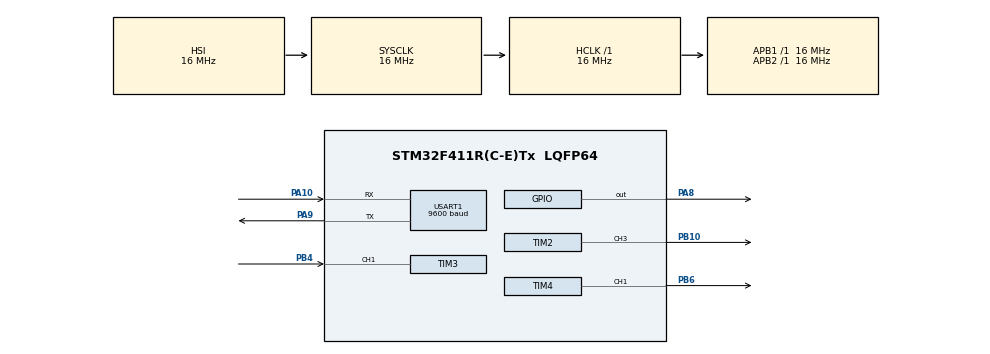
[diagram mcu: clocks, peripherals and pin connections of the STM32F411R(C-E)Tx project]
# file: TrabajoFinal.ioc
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FREERTOS.Events01=modeFlags,Dynamic,NULL
FREERTOS.Mutexes01=controlMutex,Dynamic,NULL;sensorMutex,Dynamic,NULL
FREERTOS.Queues01=myQueue01,32,char,0,Dynamic,NULL,NULL;myQueue02,32,uint32_t,0,Dynamic,NULL,NULL
FREERTOS.Tasks01=defaultTask,24,128,StartDefaultTask,Default,NULL,Dynamic,NULL,NULL;TestTask01,8,128,TestTask,Default,NULL,Dynamic,NULL,NULL;PWM,8,128,PWMTask,Default,NULL,Dynamic,NULL,NULL;SensorUTask01,8,128,SensorUTask,Default,NULL,Dynamic,NULL,NULL
FREERTOS.configUSE_NEWLIB_REENTRANT=1
Mcu.Family=STM32F4
Mcu.Name=STM32F411R(C-E)Tx
Mcu.Package=LQFP64
NVIC.PriorityGroup=NVIC_PRIORITYGROUP_4
NVIC.TIM3_IRQn=true\:5\:0\:false\:false\:true\:true\:true\:true\:true
NVIC.TIM4_IRQn=true\:5\:0\:false\:false\:true\:true\:true\:true\:true
NVIC.USART1_IRQn=true\:5\:0\:false\:false\:true\:true\:true\:true\:true
PA10.Mode=Asynchronous
PA10.Signal=USART1_RX
PA8.Signal=GPIO_Output
PA9.Mode=Asynchronous
PA9.Signal=USART1_TX
PB10.Signal=S_TIM2_CH3
PB4.Signal=S_TIM3_CH1
PB6.Signal=S_TIM4_CH1
ProjectManager.HeapSize=0x200
ProjectManager.StackSize=0x400
ProjectManager.TargetToolchain=STM32CubeIDE
RCC.AHBFreq_Value=16000000
RCC.APB1Freq_Value=16000000
RCC.APB2Freq_Value=16000000
RCC.CortexFreq_Value=16000000
RCC.HSE_VALUE=25000000
RCC.HSI_VALUE=16000000
RCC.LSE_VALUE=32768
RCC.SYSCLKFreq_VALUE=16000000
RCC.VCOOutputFreq_Value=192000000
SH.S_TIM2_CH3.0=TIM2_CH3,PWM Generation3 CH3
SH.S_TIM3_CH1.0=TIM3_CH1,Input_Capture1_from_TI1
SH.S_TIM4_CH1.0=TIM4_CH1,PWM Generation1 CH1
TIM2.AutoReloadPreload=TIM_AUTORELOAD_PRELOAD_ENABLE
TIM2.Channel-PWM\ Generation3\ CH3=TIM_CHANNEL_3
TIM2.Period=999
TIM2.Prescaler=7
TIM3.AutoReloadPreload=TIM_AUTORELOAD_PRELOAD_DISABLE
TIM3.Channel-Input_Capture1_from_TI1=TIM_CHANNEL_1
TIM3.ICPolarity_CH1=TIM_INPUTCHANNELPOLARITY_BOTHEDGE
TIM3.Period=65535
TIM3.Prescaler=15
TIM4.AutoReloadPreload=TIM_AUTORELOAD_PRELOAD_ENABLE
TIM4.Channel-PWM\ Generation1\ CH1=TIM_CHANNEL_1
TIM4.Period=999
TIM4.Prescaler=7
USART1.BaudRate=9600
USART1.VirtualMode=VM_ASYNC
VP_FREERTOS_VS_CMSIS_V2.Mode=CMSIS_V2
VP_TIM2_VS_ClockSourceINT.Mode=Internal
VP_TIM3_VS_ClockSourceINT.Mode=Internal
VP_TIM4_VS_ClockSourceINT.Mode=Internal
board=custom

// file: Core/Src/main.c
/* USER CODE BEGIN Header */
/**
 ******************************************************************************
 * @file           : main.c
 * @brief          : Main program body
 ******************************************************************************
 * @attention
 *
 * Copyright (c) 2025 STMicroelectronics.
 * All rights reserved.
 *
 * This software is licensed under terms that can be found in the LICENSE file
 * in the root directory of this software component.
 * If no LICENSE file comes with this software, it is provided AS-IS.
 *
 ******************************************************************************
 */
/* USER CODE END Header */
#include "main.h"
#include "cmsis_os.h"

/* USER CODE BEGIN Includes */
#include <stdlib.h>
#include <math.h>
/* USER CODE END Includes */

/* USER CODE BEGIN PD */
#define PWM_MAX 999
#define DEADZONE 50
#define MODE_MANUAL (1 << 0)
#define MODE_AUTO   (1 << 1)

#define AUTO_STOP_CM     15.0f
#define AUTO_SLOW_CM     50.0f

#define AUTO_FAST_SPEED  0.6f
#define AUTO_SLOW_SPEED  0.3f
#define AUTO_TURN_SPEED  0.1f

/* USER CODE END PD */

TIM_HandleTypeDef htim2;
TIM_HandleTypeDef htim3;
TIM_HandleTypeDef htim4;

UART_HandleTypeDef huart1;

/* Definitions for defaultTask */
osThreadId_t defaultTaskHandle;
const osThreadAttr_t defaultTask_attributes = {
  .name = "defaultTask",
  .stack_size = 128 * 4,
  .priority = (osPriority_t) osPriorityNormal,
};
/* Definitions for TestTask01 */
osThreadId_t TestTask01Handle;
const osThreadAttr_t TestTask01_attributes = {
  .name = "TestTask01",
  .stack_size = 128 * 4,
  .priority = (osPriority_t) osPriorityLow,
};
/* Definitions for PWM */
osThreadId_t PWMHandle;
const osThreadAttr_t PWM_attributes = {
  .name = "PWM",
  .stack_size = 128 * 4,
  .priority = (osPriority_t) osPriorityLow,
};
/* Definitions for SensorUTask01 */
osThreadId_t SensorUTask01Handle;
const osThreadAttr_t SensorUTask01_attributes = {
  .name = "SensorUTask01",
  .stack_size = 128 * 4,
  .priority = (osPriority_t) osPriorityLow,
};
/* Definitions for myQueue01 */
osMessageQueueId_t myQueue01Handle;
const osMessageQueueAttr_t myQueue01_attributes = {
  .name = "myQueue01"
};
/* Definitions for myQueue02 */
osMessageQueueId_t myQueue02Handle;
const osMessageQueueAttr_t myQueue02_attributes = {
  .name = "myQueue02"
};
/* Definitions for controlMutex */
osMutexId_t controlMutexHandle;
const osMutexAttr_t controlMutex_attributes = {
  .name = "controlMutex"
};
/* Definitions for sensorMutex */
osMutexId_t sensorMutexHandle;
const osMutexAttr_t sensorMutex_attributes = {
  .name = "sensorMutex"
};
/* Definitions for modeFlags */
osEventFlagsId_t modeFlagsHandle;
const osEventFlagsAttr_t modeFlags_attributes = {
  .name = "modeFlags"
};
/* USER CODE BEGIN PV */
volatile uint8_t rx_byte;
uint8_t joy_x=50;   // 0–100
uint8_t joy_y=50;   // 0–100

volatile uint32_t ic_rise = 0;
volatile uint32_t ic_fall = 0;
float Distance_cm = 50.0f;

/* USER CODE END PV */

void SystemClock_Config(void);
static void MX_GPIO_Init(void);
static void MX_TIM3_Init(void);
static void MX_TIM2_Init(void);
static void MX_USART1_UART_Init(void);
static void MX_TIM4_Init(void);
void StartDefaultTask(void *argument);
void TestTask(void *argument);
void PWMTask(void *argument);
void SensorUTask(void *argument);

/* USER CODE BEGIN 0 */
static inline uint32_t map_float_to_pwm(float v)
{
    if (v < 0.0f) v = 0.0f;
    if (v > 1.0f) v = 1.0f;
    return (uint32_t)(v * PWM_MAX);
}

void DriveFromJoystick(uint8_t x, uint8_t y)
{
    float speed, turn;
    float left, right;

    if (x == 50 && y == 50)
	{
		__HAL_TIM_SET_COMPARE(&htim4, TIM_CHANNEL_1, 0);
		__HAL_TIM_SET_COMPARE(&htim2, TIM_CHANNEL_3, 0);
		return;
	}

    turn = ((float)x - 50.0f) / 50.0f;   // -1..1

    if (y > DEADZONE)
		speed = (float)(y - DEADZONE) / (100.0f - DEADZONE); // 0..1
	else
		speed = 0.0f;

    if (speed < 0.05f && fabs(turn) > 0.05f)
    {
		if (turn > 0)
		{
			left  = 0.0f;
			right = fabs(turn);
		}
		else
		{
			left  = fabs(turn);
			right = 0.0f;
		}
    }
    else
    {
        left  = speed * (1.0f - turn);
        right = speed * (1.0f + turn);

        if (left  < 0) left  = 0;
        if (right < 0) right = 0;
        if (left  > 1) left  = 1;
        if (right > 1) right = 1;
    }

    __HAL_TIM_SET_COMPARE(&htim4, TIM_CHANNEL_1, map_float_to_pwm(left));
    __HAL_TIM_SET_COMPARE(&htim2, TIM_CHANNEL_3, map_float_to_pwm(right));
}

void DriveAuto(void)
{
    float distance;
    float left = 0.0f, right = 0.0f;

    /* Leer distancia protegida */
    osMutexAcquire(controlMutexHandle, osWaitForever);
    distance = Distance_cm;
    osMutexRelease(controlMutexHandle);

    if (distance <= 0.0f)
    {
        left = 0.0f;
        right = 0.0f;
    }
    else if (distance < AUTO_STOP_CM)
    {
        // Obstáculo muy cerca → girar
        left  = AUTO_TURN_SPEED;
        right = 0.0f;
    }
    else if (distance < AUTO_SLOW_CM)
    {
        // Cerca → avanzar lento
        left  = AUTO_SLOW_SPEED;
        right = AUTO_SLOW_SPEED;
    }
    else
    {
        // Libre → avanzar normal
        left  = AUTO_FAST_SPEED;
        right = AUTO_FAST_SPEED;
    }

    __HAL_TIM_SET_COMPARE(&htim4, TIM_CHANNEL_1, map_float_to_pwm(left));
    __HAL_TIM_SET_COMPARE(&htim2, TIM_CHANNEL_3, map_float_to_pwm(right));
}

int parseXY(const char *buf, uint8_t *x, uint8_t *y)
{
    if (buf[0] != 'X') return 0;

    int i = 1;
    int vx = 0, vy = 0;

    if (buf[i] < '0' || buf[i] > '9') return 0;

    while (buf[i] >= '0' && buf[i] <= '9')
        vx = vx * 10 + (buf[i++] - '0');

    if (buf[i++] != 'Y') return 0;

    if (buf[i] < '0' || buf[i] > '9') return 0;

    while (buf[i] >= '0' && buf[i] <= '9')
        vy = vy * 10 + (buf[i++] - '0');

    if (vx > 100 || vy > 100) return 0;

    *x = vx;
    *y = vy;
    return 1;
}

/* USER CODE END 0 */

int main(void)
{

  /* MCU Configuration--------------------------------------------------------*/

  /* Reset of all peripherals, Initializes the Flash interface and the Systick. */
  HAL_Init();

  /* Configure the system clock */
  SystemClock_Config();

  /* Initialize all configured peripherals */
  MX_GPIO_Init();
  MX_TIM3_Init();
  MX_TIM2_Init();
  MX_USART1_UART_Init();
  MX_TIM4_Init();
  /* USER CODE BEGIN 2 */
  //HAL_UART_Receive_IT(&huart2, &rx_byte, 1);
  HAL_UART_Receive_IT(&huart1, &rx_byte, 1);
  HAL_TIM_PWM_Start(&htim4, TIM_CHANNEL_1);
  HAL_TIM_PWM_Start(&htim2, TIM_CHANNEL_3);
  /* USER CODE END 2 */

  /* Init scheduler */
  osKernelInitialize();
  /* Create the mutex(es) */
  /* creation of controlMutex */
  controlMutexHandle = osMutexNew(&controlMutex_attributes);

  /* creation of sensorMutex */
  sensorMutexHandle = osMutexNew(&sensorMutex_attributes);

  /* Create the queue(s) */
  /* creation of myQueue01 */
  myQueue01Handle = osMessageQueueNew (32, sizeof(char), &myQueue01_attributes);

  /* creation of myQueue02 */
  myQueue02Handle = osMessageQueueNew (4, sizeof(uint32_t), &myQueue02_attributes);

  /* Create the thread(s) */
  /* creation of defaultTask */
  defaultTaskHandle = osThreadNew(StartDefaultTask, NULL, &defaultTask_attributes);

  /* creation of TestTask01 */
  TestTask01Handle = osThreadNew(TestTask, NULL, &TestTask01_attributes);

  /* creation of PWM */
  PWMHandle = osThreadNew(PWMTask, NULL, &PWM_attributes);

  /* creation of SensorUTask01 */
  SensorUTask01Handle = osThreadNew(SensorUTask, NULL, &SensorUTask01_attributes);

  /* creation of modeFlags */
  modeFlagsHandle = osEventFlagsNew(&modeFlags_attributes);

  /* USER CODE BEGIN RTOS_EVENTS */
  osEventFlagsSet(modeFlagsHandle, MODE_MANUAL);
  /* USER CODE END RTOS_EVENTS */

  /* Start scheduler */
  osKernelStart();

  /* We should never get here as control is now taken by the scheduler */
  /* Infinite loop */
	while (1) {

	}
}

void SystemClock_Config(void)
{
  RCC_OscInitTypeDef RCC_OscInitStruct = {0};
  RCC_ClkInitTypeDef RCC_ClkInitStruct = {0};

  /** Configure the main internal regulator output voltage
  */
  __HAL_RCC_PWR_CLK_ENABLE();
  __HAL_PWR_VOLTAGESCALING_CONFIG(PWR_REGULATOR_VOLTAGE_SCALE1);

  /** Initializes the RCC Oscillators according to the specified parameters
  * in the RCC_OscInitTypeDef structure.
  */
  RCC_OscInitStruct.OscillatorType = RCC_OSCILLATORTYPE_HSI;
  RCC_OscInitStruct.HSIState = RCC_HSI_ON;
  RCC_OscInitStruct.HSICalibrationValue = RCC_HSICALIBRATION_DEFAULT;
  RCC_OscInitStruct.PLL.PLLState = RCC_PLL_NONE;
  if (HAL_RCC_OscConfig(&RCC_OscInitStruct) != HAL_OK)
  {
    Error_Handler();
  }

  /** Initializes the CPU, AHB and APB buses clocks
  */
  RCC_ClkInitStruct.ClockType = RCC_CLOCKTYPE_HCLK|RCC_CLOCKTYPE_SYSCLK
                              |RCC_CLOCKTYPE_PCLK1|RCC_CLOCKTYPE_PCLK2;
  RCC_ClkInitStruct.SYSCLKSource = RCC_SYSCLKSOURCE_HSI;
  RCC_ClkInitStruct.AHBCLKDivider = RCC_SYSCLK_DIV1;
  RCC_ClkInitStruct.APB1CLKDivider = RCC_HCLK_DIV1;
  RCC_ClkInitStruct.APB2CLKDivider = RCC_HCLK_DIV1;

  if (HAL_RCC_ClockConfig(&RCC_ClkInitStruct, FLASH_LATENCY_0) != HAL_OK)
  {
    Error_Handler();
  }
}

static void MX_TIM2_Init(void)
{

  TIM_ClockConfigTypeDef sClockSourceConfig = {0};
  TIM_MasterConfigTypeDef sMasterConfig = {0};
  TIM_OC_InitTypeDef sConfigOC = {0};

  htim2.Instance = TIM2;
  htim2.Init.Prescaler = 7;
  htim2.Init.CounterMode = TIM_COUNTERMODE_UP;
  htim2.Init.Period = 999;
  htim2.Init.ClockDivision = TIM_CLOCKDIVISION_DIV1;
  htim2.Init.AutoReloadPreload = TIM_AUTORELOAD_PRELOAD_ENABLE;
  if (HAL_TIM_Base_Init(&htim2) != HAL_OK)
  {
    Error_Handler();
  }
  sClockSourceConfig.ClockSource = TIM_CLOCKSOURCE_INTERNAL;
  if (HAL_TIM_ConfigClockSource(&htim2, &sClockSourceConfig) != HAL_OK)
  {
    Error_Handler();
  }
  if (HAL_TIM_PWM_Init(&htim2) != HAL_OK)
  {
    Error_Handler();
  }
  sMasterConfig.MasterOutputTrigger = TIM_TRGO_RESET;
  sMasterConfig.MasterSlaveMode = TIM_MASTERSLAVEMODE_DISABLE;
  if (HAL_TIMEx_MasterConfigSynchronization(&htim2, &sMasterConfig) != HAL_OK)
  {
    Error_Handler();
  }
  sConfigOC.OCMode = TIM_OCMODE_PWM1;
  sConfigOC.Pulse = 0;
  sConfigOC.OCPolarity = TIM_OCPOLARITY_HIGH;
  sConfigOC.OCFastMode = TIM_OCFAST_DISABLE;
  if (HAL_TIM_PWM_ConfigChannel(&htim2, &sConfigOC, TIM_CHANNEL_3) != HAL_OK)
  {
    Error_Handler();
  }
  HAL_TIM_MspPostInit(&htim2);

}

static void MX_TIM3_Init(void)
{

  TIM_ClockConfigTypeDef sClockSourceConfig = {0};
  TIM_MasterConfigTypeDef sMasterConfig = {0};
  TIM_IC_InitTypeDef sConfigIC = {0};

  htim3.Instance = TIM3;
  htim3.Init.Prescaler = 15;
  htim3.Init.CounterMode = TIM_COUNTERMODE_UP;
  htim3.Init.Period = 65535;
  htim3.Init.ClockDivision = TIM_CLOCKDIVISION_DIV1;
  htim3.Init.AutoReloadPreload = TIM_AUTORELOAD_PRELOAD_DISABLE;
  if (HAL_TIM_Base_Init(&htim3) != HAL_OK)
  {
    Error_Handler();
  }
  sClockSourceConfig.ClockSource = TIM_CLOCKSOURCE_INTERNAL;
  if (HAL_TIM_ConfigClockSource(&htim3, &sClockSourceConfig) != HAL_OK)
  {
    Error_Handler();
  }
  if (HAL_TIM_IC_Init(&htim3) != HAL_OK)
  {
    Error_Handler();
  }
  sMasterConfig.MasterOutputTrigger = TIM_TRGO_RESET;
  sMasterConfig.MasterSlaveMode = TIM_MASTERSLAVEMODE_DISABLE;
  if (HAL_TIMEx_MasterConfigSynchronization(&htim3, &sMasterConfig) != HAL_OK)
  {
    Error_Handler();
  }
  sConfigIC.ICPolarity = TIM_INPUTCHANNELPOLARITY_BOTHEDGE;
  sConfigIC.ICSelection = TIM_ICSELECTION_DIRECTTI;
  sConfigIC.ICPrescaler = TIM_ICPSC_DIV1;
  sConfigIC.ICFilter = 0;
  if (HAL_TIM_IC_ConfigChannel(&htim3, &sConfigIC, TIM_CHANNEL_1) != HAL_OK)
  {
    Error_Handler();
  }

}

static void MX_TIM4_Init(void)
{

  TIM_ClockConfigTypeDef sClockSourceConfig = {0};
  TIM_MasterConfigTypeDef sMasterConfig = {0};
  TIM_OC_InitTypeDef sConfigOC = {0};

  htim4.Instance = TIM4;
  htim4.Init.Prescaler = 7;
  htim4.Init.CounterMode = TIM_COUNTERMODE_UP;
  htim4.Init.Period = 999;
  htim4.Init.ClockDivision = TIM_CLOCKDIVISION_DIV1;
  htim4.Init.AutoReloadPreload = TIM_AUTORELOAD_PRELOAD_ENABLE;
  if (HAL_TIM_Base_Init(&htim4) != HAL_OK)
  {
    Error_Handler();
  }
  sClockSourceConfig.ClockSource = TIM_CLOCKSOURCE_INTERNAL;
  if (HAL_TIM_ConfigClockSource(&htim4, &sClockSourceConfig) != HAL_OK)
  {
    Error_Handler();
  }
  if (HAL_TIM_PWM_Init(&htim4) != HAL_OK)
  {
    Error_Handler();
  }
  sMasterConfig.MasterOutputTrigger = TIM_TRGO_RESET;
  sMasterConfig.MasterSlaveMode = TIM_MASTERSLAVEMODE_DISABLE;
  if (HAL_TIMEx_MasterConfigSynchronization(&htim4, &sMasterConfig) != HAL_OK)
  {
    Error_Handler();
  }
  sConfigOC.OCMode = TIM_OCMODE_PWM1;
  sConfigOC.Pulse = 0;
  sConfigOC.OCPolarity = TIM_OCPOLARITY_HIGH;
  sConfigOC.OCFastMode = TIM_OCFAST_DISABLE;
  if (HAL_TIM_PWM_ConfigChannel(&htim4, &sConfigOC, TIM_CHANNEL_1) != HAL_OK)
  {
    Error_Handler();
  }
  HAL_TIM_MspPostInit(&htim4);

}

static void MX_USART1_UART_Init(void)
{

  huart1.Instance = USART1;
  huart1.Init.BaudRate = 9600;
  huart1.Init.WordLength = UART_WORDLENGTH_8B;
  huart1.Init.StopBits = UART_STOPBITS_1;
  huart1.Init.Parity = UART_PARITY_NONE;
  huart1.Init.Mode = UART_MODE_TX_RX;
  huart1.Init.HwFlowCtl = UART_HWCONTROL_NONE;
  huart1.Init.OverSampling = UART_OVERSAMPLING_16;
  if (HAL_UART_Init(&huart1) != HAL_OK)
  {
    Error_Handler();
  }
  /* USER CODE BEGIN USART1_Init 2 */
  HAL_UART_Receive_IT(&huart1, &rx_byte, 1);
  /* USER CODE END USART1_Init 2 */

}

static void MX_GPIO_Init(void)
{
  GPIO_InitTypeDef GPIO_InitStruct = {0};

  /* GPIO Ports Clock Enable */
  __HAL_RCC_GPIOB_CLK_ENABLE();
  __HAL_RCC_GPIOA_CLK_ENABLE();

  /*Configure GPIO pin Output Level */
  HAL_GPIO_WritePin(GPIOA, GPIO_PIN_8, GPIO_PIN_RESET);

  /*Configure GPIO pin : PA8 */
  GPIO_InitStruct.Pin = GPIO_PIN_8;
  GPIO_InitStruct.Mode = GPIO_MODE_OUTPUT_PP;
  GPIO_InitStruct.Pull = GPIO_NOPULL;
  GPIO_InitStruct.Speed = GPIO_SPEED_FREQ_LOW;
  HAL_GPIO_Init(GPIOA, &GPIO_InitStruct);

  GPIO_InitStruct.Pin = GPIO_PIN_4;
  GPIO_InitStruct.Mode = GPIO_MODE_AF_PP;
  GPIO_InitStruct.Pull = GPIO_PULLUP;
  GPIO_InitStruct.Speed = GPIO_SPEED_FREQ_LOW;
  GPIO_InitStruct.Alternate = GPIO_AF2_TIM3;
  HAL_GPIO_Init(GPIOB, &GPIO_InitStruct);

}

/* USER CODE BEGIN 4 */
void HAL_UART_RxCpltCallback(UART_HandleTypeDef *huart) {
	if (huart->Instance == USART1) {
		char c = rx_byte;

		osMessageQueuePut(myQueue01Handle, &c, 0, 0);
		HAL_UART_Receive_IT(&huart1, &rx_byte, 1);
	}
}

void HAL_TIM_IC_CaptureCallback(TIM_HandleTypeDef *htim)
{
    if (htim->Instance != TIM3) return;

    if (htim->Channel == HAL_TIM_ACTIVE_CHANNEL_1)
	{

		static uint32_t ic_rise = 0;
        uint32_t ic_val = HAL_TIM_ReadCapturedValue(htim, TIM_CHANNEL_1);

        if (HAL_GPIO_ReadPin(GPIOB, GPIO_PIN_4) == GPIO_PIN_SET)
        {
			ic_rise = ic_val;
		}
		else
		{
			uint32_t diff;
			if (ic_val >= ic_rise)
				diff = ic_val - ic_rise;
			else
				diff = (htim->Init.Period - ic_rise) + ic_val;

			osMessageQueuePut(myQueue02Handle, &diff, 0, 0);
		}
	}
}

/* USER CODE END 4 */

void StartDefaultTask(void *argument)
{
	for (;;) {
		osDelay(1);
	}
}

void TestTask(void *argument)
{
  /* USER CODE BEGIN TestTask */
	/* Infinite loop */
	char c;
	char buffer[20];
	uint8_t idx = 0;

	for (;;) {
		if (osMessageQueueGet(myQueue01Handle, &c, NULL, osWaitForever)== osOK) {
			// 1) Modo M / A
			if (c == 'C') {
				osEventFlagsClear(modeFlagsHandle, MODE_AUTO);
				osEventFlagsSet(modeFlagsHandle, MODE_MANUAL);
			} else if (c == 'c') {
			    osEventFlagsClear(modeFlagsHandle, MODE_MANUAL);
			    osEventFlagsSet(modeFlagsHandle, MODE_AUTO);
			}

			// 2) Joystick Xnnn,Ynnn
			else {
				if ((c == '\n') || (c == '\r') || (c == '>')) {
					buffer[idx] = '\0';

					uint8_t x, y;
					if (parseXY(buffer, &x, &y)) {
						osMutexAcquire(controlMutexHandle, osWaitForever);
						joy_x = abs((int)x - 100);
						joy_y = abs((int)y - 100);
						osMutexRelease(controlMutexHandle);
					}
					memset(buffer, 0, sizeof(buffer));
					idx = 0;
				} else if (idx < sizeof(buffer) - 1) {
					buffer[idx++] = c;
				} else {
				    memset(buffer, 0, sizeof(buffer));
				    idx = 0;
				}
			}
		}
	}
  /* USER CODE END TestTask */
}

void PWMTask(void *argument)
{
  /* USER CODE BEGIN PWMTask */
  /* Infinite loop */
    uint8_t x, y;
    uint32_t flags;
    for(;;)
    {
        flags = osEventFlagsWait(
					modeFlagsHandle,
					MODE_MANUAL | MODE_AUTO,
					osFlagsWaitAny | osFlagsNoClear,
					osWaitForever
				);

        // ===== MODO MANUAL =====
		if (flags & MODE_MANUAL)
		{
			for (;;)
			{
				flags = osEventFlagsGet(modeFlagsHandle);
				if (!(flags & MODE_MANUAL))
					break;

				osMutexAcquire(controlMutexHandle, osWaitForever);
				x = joy_x;
				y = joy_y;
				osMutexRelease(controlMutexHandle);

				DriveFromJoystick(x, y);

				osDelay(20);
			}
		}
		// ===== MODO AUTOM�?TICO =====
		if (flags & MODE_AUTO)
		{
			for (;;)
			{
				flags = osEventFlagsGet(modeFlagsHandle);
				if (!(flags & MODE_AUTO))
					break;

				DriveAuto();

				osDelay(50);
			}
		}
    }
  /* USER CODE END PWMTask */
}

void SensorUTask(void *argument)
{
  /* USER CODE BEGIN SensorUTask */
	uint32_t diff;
    uint32_t flags;
    float distance;

	HAL_TIM_Base_Start(&htim3);
	HAL_TIM_IC_Start_IT(&htim3, TIM_CHANNEL_1);

	for(;;)
	{
		flags = osEventFlagsWait(
		                    modeFlagsHandle,
		                    MODE_AUTO,
		                    osFlagsWaitAny | osFlagsNoClear,
		                    osWaitForever
		                );

		if (flags & MODE_AUTO) {
			HAL_GPIO_WritePin(GPIOA, GPIO_PIN_8, GPIO_PIN_SET);
			for (volatile int i = 0; i < 120; i++); //  (10us)
			HAL_GPIO_WritePin(GPIOA, GPIO_PIN_8, GPIO_PIN_RESET);

			if (osMessageQueueGet(myQueue02Handle, &diff, NULL, 100) == osOK)
			{
				distance = diff / 58.0f;
				osMutexAcquire(controlMutexHandle, osWaitForever);
				Distance_cm = distance;
				osMutexRelease(controlMutexHandle);
			}

			osDelay(50);
		}
	}
  /* USER CODE END SensorUTask */
}

void Error_Handler(void)
{
	__disable_irq();
	while (1) {
	}
}
